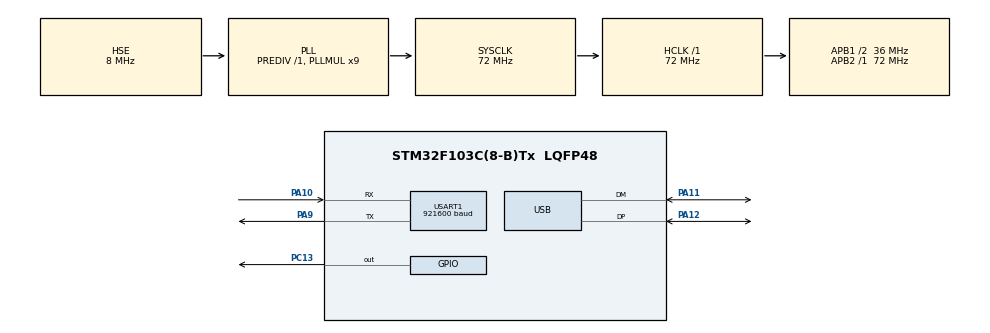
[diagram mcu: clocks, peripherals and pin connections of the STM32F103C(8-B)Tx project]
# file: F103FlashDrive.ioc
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Mcu.Family=STM32F1
Mcu.Name=STM32F103C(8-B)Tx
Mcu.Package=LQFP48
NVIC.PriorityGroup=NVIC_PRIORITYGROUP_4
NVIC.USB_LP_CAN1_RX0_IRQn=true\:0\:0\:false\:false\:true
PA10.Mode=Asynchronous
PA10.Signal=USART1_RX
PA11.Mode=Device
PA11.Signal=USB_DM
PA12.Mode=Device
PA12.Signal=USB_DP
PA9.Mode=Asynchronous
PA9.Signal=USART1_TX
PC13-TAMPER-RTC.Signal=GPIO_Output
PD0-OSC_IN.Mode=HSE-External-Oscillator
PD0-OSC_IN.Signal=RCC_OSC_IN
PD1-OSC_OUT.Mode=HSE-External-Oscillator
PD1-OSC_OUT.Signal=RCC_OSC_OUT
ProjectManager.HeapSize=0x200
ProjectManager.StackSize=0x400
ProjectManager.TargetToolchain=SW4STM32
RCC.AHBFreq_Value=72000000
RCC.APB1CLKDivider=RCC_HCLK_DIV2
RCC.APB1Freq_Value=36000000
RCC.APB1TimFreq_Value=72000000
RCC.APB2Freq_Value=72000000
RCC.APB2TimFreq_Value=72000000
RCC.HCLKFreq_Value=72000000
RCC.PLLMUL=RCC_PLL_MUL9
RCC.PLLSourceVirtual=RCC_PLLSOURCE_HSE
RCC.SYSCLKFreq_VALUE=72000000
RCC.SYSCLKSource=RCC_SYSCLKSOURCE_PLLCLK
RCC.USBFreq_Value=48000000
RCC.USBPrescaler=RCC_USBCLKSOURCE_PLL_DIV1_5
USART1.BaudRate=921600
USART1.VirtualMode=VM_ASYNC
USB_DEVICE.CLASS_NAME_FS=MSC
USB_DEVICE.MANUFACTURER_STRING=My drive
USB_DEVICE.VID=0x483
USB_DEVICE.VirtualMode=Msc
USB_DEVICE.VirtualModeFS=Msc_FS
VP_SYS_VS_ND.Mode=No_Debug
VP_USB_DEVICE_VS_USB_DEVICE_MSC_FS.Mode=MSC_FS
board=F103FlashDrive

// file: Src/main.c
/**
  ******************************************************************************
  * File Name          : main.c
  * Description        : Main program body
  ******************************************************************************
  *
  * Copyright (c) 2019 STMicroelectronics International N.V.
  * All rights reserved.
  *
  * Redistribution and use in source and binary forms, with or without
  * modification, are permitted, provided that the following conditions are met:
  *
  * 1. Redistribution of source code must retain the above copyright notice,
  *    this list of conditions and the following disclaimer.
  * 2. Redistributions in binary form must reproduce the above copyright notice,
  *    this list of conditions and the following disclaimer in the documentation
  *    and/or other materials provided with the distribution.
  * 3. Neither the name of STMicroelectronics nor the names of other
  *    contributors to this software may be used to endorse or promote products
  *    derived from this software without specific written permission.
  * 4. This software, including modifications and/or derivative works of this
  *    software, must execute solely and exclusively on microcontroller or
  *    microprocessor devices manufactured by or for STMicroelectronics.
  * 5. Redistribution and use of this software other than as permitted under
  *    this license is void and will automatically terminate your rights under
  *    this license.
  *
  * THIS SOFTWARE IS PROVIDED BY STMICROELECTRONICS AND CONTRIBUTORS "AS IS"
  * AND ANY EXPRESS, IMPLIED OR STATUTORY WARRANTIES, INCLUDING, BUT NOT
  * LIMITED TO, THE IMPLIED WARRANTIES OF MERCHANTABILITY, FITNESS FOR A
  * PARTICULAR PURPOSE AND NON-INFRINGEMENT OF THIRD PARTY INTELLECTUAL PROPERTY
  * RIGHTS ARE DISCLAIMED TO THE FULLEST EXTENT PERMITTED BY LAW. IN NO EVENT
  * SHALL STMICROELECTRONICS OR CONTRIBUTORS BE LIABLE FOR ANY DIRECT, INDIRECT,
  * INCIDENTAL, SPECIAL, EXEMPLARY, OR CONSEQUENTIAL DAMAGES (INCLUDING, BUT NOT
  * LIMITED TO, PROCUREMENT OF SUBSTITUTE GOODS OR SERVICES; LOSS OF USE, DATA,
  * OR PROFITS; OR BUSINESS INTERRUPTION) HOWEVER CAUSED AND ON ANY THEORY OF
  * LIABILITY, WHETHER IN CONTRACT, STRICT LIABILITY, OR TORT (INCLUDING
  * NEGLIGENCE OR OTHERWISE) ARISING IN ANY WAY OUT OF THE USE OF THIS SOFTWARE,
  * EVEN IF ADVISED OF THE POSSIBILITY OF SUCH DAMAGE.
  *
  ******************************************************************************
  */
#include "main.h"
#include "stm32f1xx_hal.h"
#include "usb_device.h"

/* USER CODE BEGIN Includes */
#include "cdebug.h"
#include "fsflash.h"
/* USER CODE END Includes */

UART_HandleTypeDef huart1;

/* USER CODE BEGIN PV */
/* Private variables ---------------------------------------------------------*/

/* USER CODE END PV */

void SystemClock_Config(void);
void Error_Handler(void);
static void MX_GPIO_Init(void);
static void MX_USART1_UART_Init(void);

/* USER CODE BEGIN PFP */
/* Private function prototypes -----------------------------------------------*/

/* USER CODE END PFP */

/* USER CODE BEGIN 0 */
uint8_t buff[150];
/* USER CODE END 0 */

int main(void)
{

  /* MCU Configuration----------------------------------------------------------*/

  /* Reset of all peripherals, Initializes the Flash interface and the Systick. */
  HAL_Init();

  /* Configure the system clock */
  SystemClock_Config();

  /* Initialize all configured peripherals */
  MX_GPIO_Init();
  MX_USART1_UART_Init();
  MX_USB_DEVICE_Init();

  /* USER CODE BEGIN 2 */
	  dDebugSend(&huart1,"...START... \r\n");
  /* USER CODE END 2 */

  /* Infinite loop */
  /* USER CODE BEGIN WHILE */

 char file_list[200];
 char *fdata;
 char file_name[9];

 sprintf(file_name,"UART_SPDSET");
 uint8_t result = f12_read_data (file_name,&fdata,file_list,200); // поищем файл TEST2.TXT

 if (result == 0) {
  dDebugSend(&huart1,"\r\nFILES:\r\n");
  dDebugSend(&huart1,file_list);

  dDebugSend(&huart1,"\r\nDATA:\r\n");
  dDebugSend(&huart1,fdata); // распечатам данные файла TEST2.TXT
 }
 else {
 sprintf (buff, "ERROR f12_read_data: %d\r\n",result);
 dDebugSend(&huart1,buff);
 }

  while (1)
  {
	  dBlink(10,50,1000);
  /* USER CODE END WHILE */

  }

}

/** System Clock Configuration
*/
void SystemClock_Config(void)
{

  RCC_OscInitTypeDef RCC_OscInitStruct;
  RCC_ClkInitTypeDef RCC_ClkInitStruct;
  RCC_PeriphCLKInitTypeDef PeriphClkInit;

    /**Initializes the CPU, AHB and APB busses clocks
    */
  RCC_OscInitStruct.OscillatorType = RCC_OSCILLATORTYPE_HSE;
  RCC_OscInitStruct.HSEState = RCC_HSE_ON;
  RCC_OscInitStruct.HSEPredivValue = RCC_HSE_PREDIV_DIV1;
  RCC_OscInitStruct.HSIState = RCC_HSI_ON;
  RCC_OscInitStruct.PLL.PLLState = RCC_PLL_ON;
  RCC_OscInitStruct.PLL.PLLSource = RCC_PLLSOURCE_HSE;
  RCC_OscInitStruct.PLL.PLLMUL = RCC_PLL_MUL9;
  if (HAL_RCC_OscConfig(&RCC_OscInitStruct) != HAL_OK)
  {
    Error_Handler();
  }

    /**Initializes the CPU, AHB and APB busses clocks
    */
  RCC_ClkInitStruct.ClockType = RCC_CLOCKTYPE_HCLK|RCC_CLOCKTYPE_SYSCLK
                              |RCC_CLOCKTYPE_PCLK1|RCC_CLOCKTYPE_PCLK2;
  RCC_ClkInitStruct.SYSCLKSource = RCC_SYSCLKSOURCE_PLLCLK;
  RCC_ClkInitStruct.AHBCLKDivider = RCC_SYSCLK_DIV1;
  RCC_ClkInitStruct.APB1CLKDivider = RCC_HCLK_DIV2;
  RCC_ClkInitStruct.APB2CLKDivider = RCC_HCLK_DIV1;

  if (HAL_RCC_ClockConfig(&RCC_ClkInitStruct, FLASH_LATENCY_2) != HAL_OK)
  {
    Error_Handler();
  }

  PeriphClkInit.PeriphClockSelection = RCC_PERIPHCLK_USB;
  PeriphClkInit.UsbClockSelection = RCC_USBCLKSOURCE_PLL_DIV1_5;
  if (HAL_RCCEx_PeriphCLKConfig(&PeriphClkInit) != HAL_OK)
  {
    Error_Handler();
  }

    /**Configure the Systick interrupt time
    */
  HAL_SYSTICK_Config(HAL_RCC_GetHCLKFreq()/1000);

    /**Configure the Systick
    */
  HAL_SYSTICK_CLKSourceConfig(SYSTICK_CLKSOURCE_HCLK);

  /* SysTick_IRQn interrupt configuration */
  HAL_NVIC_SetPriority(SysTick_IRQn, 0, 0);
}

/* USART1 init function */
static void MX_USART1_UART_Init(void)
{

  huart1.Instance = USART1;
  huart1.Init.BaudRate = 460800;
  huart1.Init.WordLength = UART_WORDLENGTH_8B;
  huart1.Init.StopBits = UART_STOPBITS_1;
  huart1.Init.Parity = UART_PARITY_NONE;
  huart1.Init.Mode = UART_MODE_TX_RX;
  huart1.Init.HwFlowCtl = UART_HWCONTROL_NONE;
  huart1.Init.OverSampling = UART_OVERSAMPLING_16;
  if (HAL_UART_Init(&huart1) != HAL_OK)
  {
    Error_Handler();
  }

}

/** Configure pins as
        * Analog
        * Input
        * Output
        * EVENT_OUT
        * EXTI
*/
static void MX_GPIO_Init(void)
{

  GPIO_InitTypeDef GPIO_InitStruct;

  /* GPIO Ports Clock Enable */
  __HAL_RCC_GPIOC_CLK_ENABLE();
  __HAL_RCC_GPIOD_CLK_ENABLE();
  __HAL_RCC_GPIOA_CLK_ENABLE();

  /*Configure GPIO pin Output Level */
  HAL_GPIO_WritePin(GPIOC, GPIO_PIN_13, GPIO_PIN_RESET);

  /*Configure GPIO pin : PC13 */
  GPIO_InitStruct.Pin = GPIO_PIN_13;
  GPIO_InitStruct.Mode = GPIO_MODE_OUTPUT_PP;
  GPIO_InitStruct.Speed = GPIO_SPEED_FREQ_LOW;
  HAL_GPIO_Init(GPIOC, &GPIO_InitStruct);

}

void Error_Handler(void)
{
  while(1)
  {
  }
}

/************************ (C) COPYRIGHT STMicroelectronics *****END OF FILE****/
